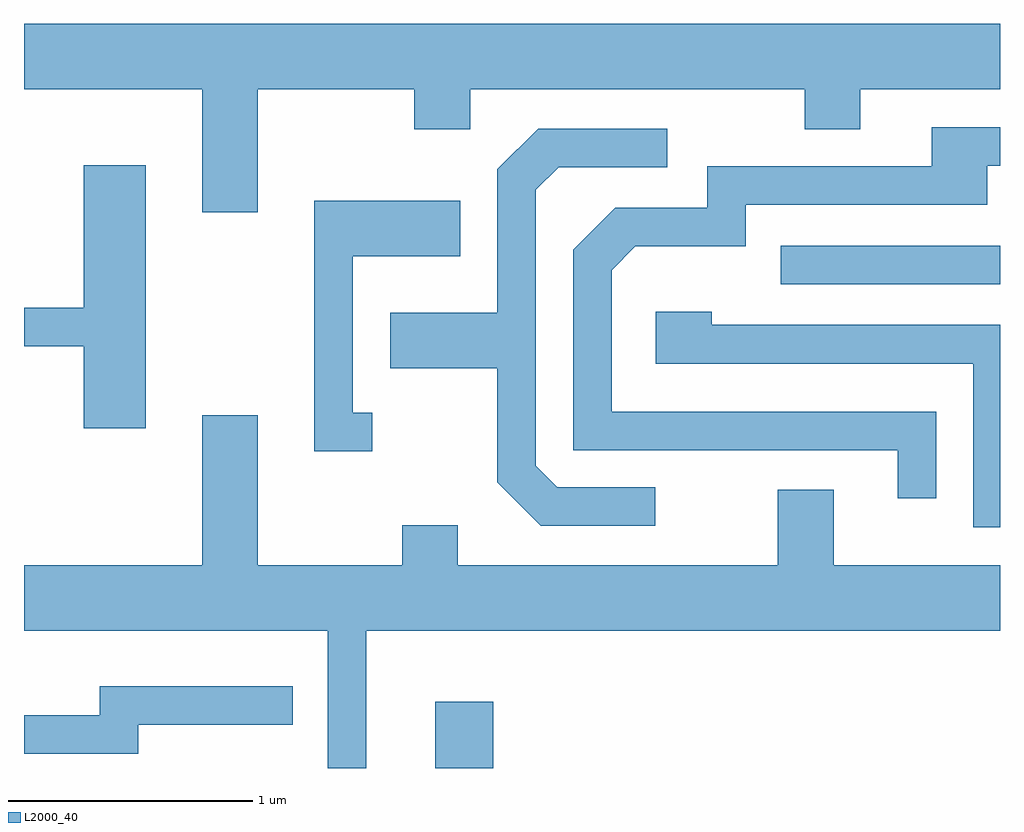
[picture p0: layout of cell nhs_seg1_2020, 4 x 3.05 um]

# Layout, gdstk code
import gdstk
lib = gdstk.Library(unit=1e-6, precision=1e-09)
def R(c, l, rs):  # rectangles x0, y0, x1, y1
    for r in rs: c.add(gdstk.rectangle(r[:2], r[2:], *l))
def P(c, l, *ps):  # polygons
    for p in ps: c.add(gdstk.Polygon(p, *l))
L2000_40 = (2000, 40)

nhs_seg1_2020 = lib.new_cell('nhs_seg1_2020')
R(nhs_seg1_2020, L2000_40, [(248.336,865.712,248.494,865.713), (249.296,865.712,249.534,865.984), (250.713,867.696,251.611,867.854)])
P(nhs_seg1_2020, L2000_40, [(248.569,868.496),(249.211,868.496),(249.211,868.331),(249.439,868.331),(249.439,868.496),(250.811,868.496),(250.811,868.331),(251.039,868.331),(251.039,868.496),(251.611,868.496),(251.611,868.764),(247.611,868.764),(247.611,868.496),(248.341,868.496),(248.341,867.991),(248.569,867.991)],
  [(251.349,867.174),(250.019,867.174),(250.019,867.754),(250.117,867.851),(250.569,867.851),(250.569,868.021),(251.559,868.021),(251.559,868.181),(251.611,868.181),(251.611,868.339),(251.331,868.339),(251.331,868.179),(250.411,868.179),(250.411,868.009),(250.034,868.009),(249.861,867.837),(249.861,867.016),(251.191,867.016),(251.191,866.818),(251.349,866.818)],
  [(250.198,866.864),(249.797,866.864),(249.709,866.952),(249.709,868.084),(249.802,868.176),(250.248,868.176),(250.248,868.334),(249.719,868.334),(249.551,868.167),(249.551,867.579),(249.111,867.579),(249.111,867.351),(249.551,867.351),(249.551,866.884),(249.729,866.706),(250.198,866.706)],
  [(248.109,868.184),(247.856,868.184),(247.856,867.599),(247.611,867.599),(247.611,867.441),(247.856,867.441),(247.856,867.106),(248.109,867.106)],
  [(249.038,867.169),(248.959,867.169),(248.959,867.811),(249.399,867.811),(249.399,868.039),(248.801,868.039),(248.801,867.011),(249.038,867.011)],
  [(251.611,867.529),(250.429,867.529),(250.429,867.584),(250.201,867.584),(250.201,867.371),(251.501,867.371),(251.501,866.701),(251.611,866.701)],
  [(249.014,866.276),(251.611,866.276),(251.611,866.544),(250.929,866.544),(250.929,866.854),(250.701,866.854),(250.701,866.544),(249.389,866.544),(249.389,866.709),(249.161,866.709),(249.161,866.544),(248.569,866.544),(248.569,867.159),(248.341,867.159),(248.341,866.544),(247.611,866.544),(247.611,866.276),(248.856,866.276),(248.856,865.712),(249.014,865.712)],
  [(248.079,865.891),(248.713,865.891),(248.713,866.049),(247.921,866.049),(247.921,865.929),(247.611,865.929),(247.611,865.771),(248.079,865.771)])

lib.write_gds('nhs_seg1_2020.gds')
